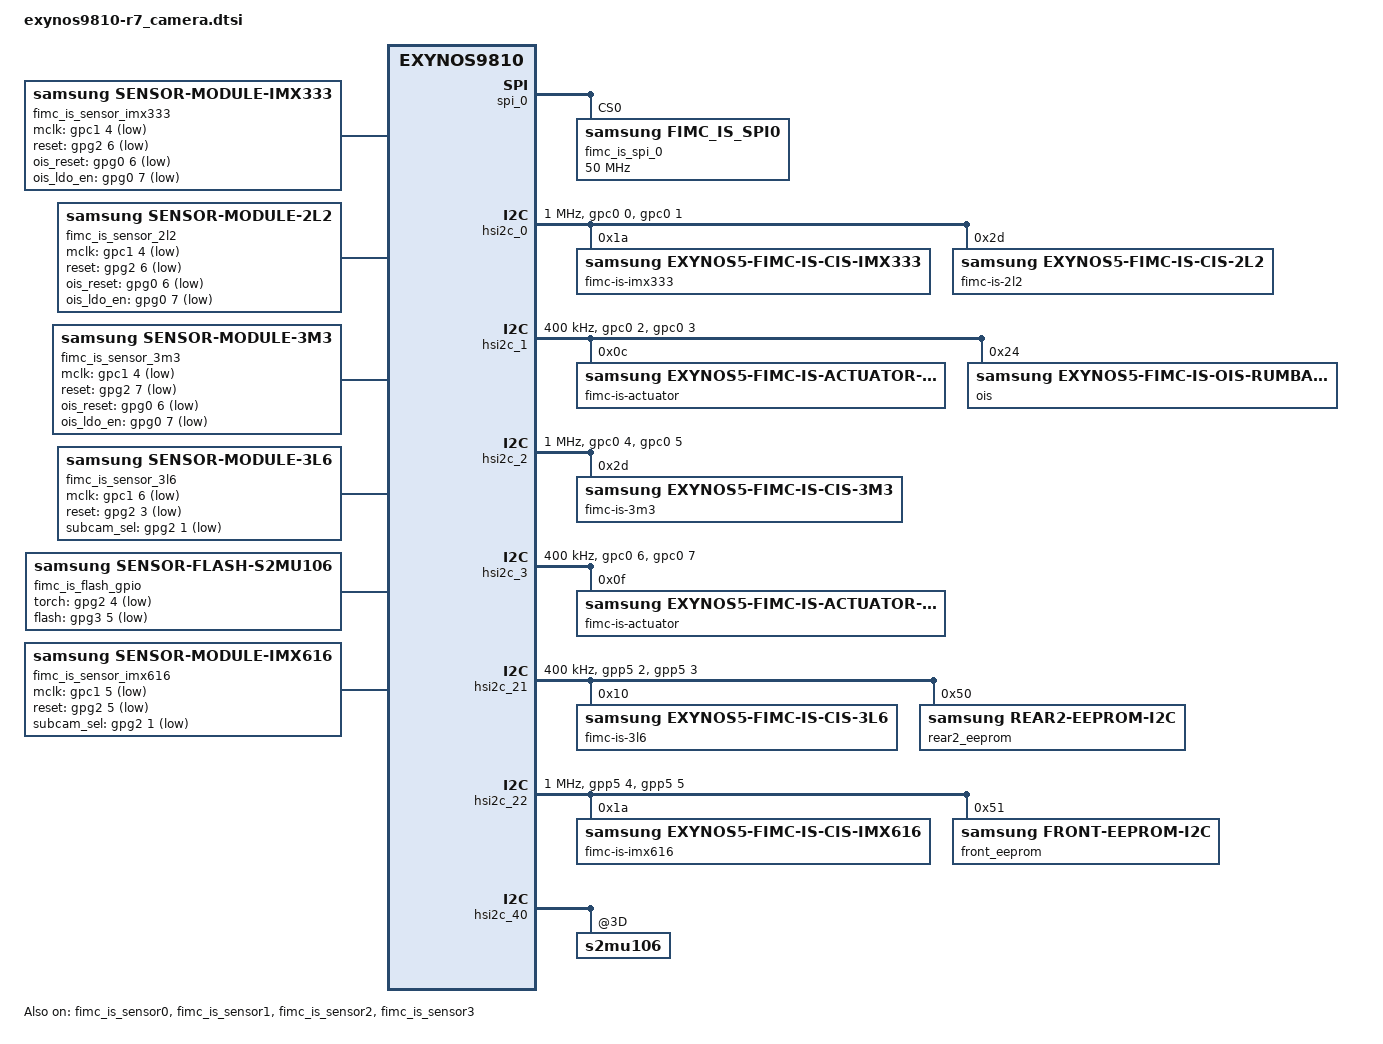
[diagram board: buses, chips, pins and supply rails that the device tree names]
/*
 * SAMSUNG EXYNOS9820 board camera device tree source
 *
 * Copyright (c) 2018 Samsung Electronics Co., Ltd.
 *		http://www.samsung.com
 *
 * This program is free software; you can redistribute it and/or modify
 * it under the terms of the GNU General Public License version 2 as
 * published by the Free Software Foundation.
*/

#include <dt-bindings/camera/fimc_is.h>

/ {
	fragment@camera {
		target-path = "/";
		__overlay__ {
			/* REAR CAMERA */
			fimc_is_sensor_imx333: fimc-is_sensor_imx333@34 {
				compatible = "samsung,sensor-module-imx333";

				pinctrl-names = "pin0", "pin1", "pin2", "release";
				pinctrl-0 = <>;
				pinctrl-1 = <&fimc_is_mclk0_out>;
				pinctrl-2 = <&fimc_is_mclk0_fn>;
				pinctrl-3 = <>;

				position = <0>;	/* Rear:0. Front:1. Rear_sub:2. Secure:3. */
				id = <0>; /* fimc_is_sensor id */
				mclk_ch = <0>;
				sensor_i2c_ch = <0>; /* SENSOR_CONTROL_I2C0 */

				rom_type = <1>; /* ROM_TYPE_FROM */
				rom_id = <0>;
				rom_cal_index = <0>;

				gpio_mclk = <&gpc1 4 0x1>;
				gpio_reset = <&gpg2 6 0x1>; /* sensor reset */
				gpio_ois_reset = <&gpg0 6 0x1>; /* ois reset */
				gpio_ois_ldo_en = <&gpg0 7 0x1>; /* ois ldo on */

				status = "okay";

				af {
					product_name = <18>; /* ACTUATOR_NAME_AK737X : ak7371 or ak7374 */
					i2c_ch = <1>; /* SENSOR_CONTROL_I2C1 */
				};

				flash {
					product_name = <14>; /* S2MU106 */
				};

				ois {
					product_name = <2>; /* RUMBA-S6 */
					i2c_addr = <0x48>;
					i2c_ch = <1>; /* SENSOR_CONTROL_I2C1 */
				};
			};

			/* REAR CAMERA */
			fimc_is_sensor_2l2: fimc-is_sensor_2l2@5A {
				compatible = "samsung,sensor-module-2l2";

				pinctrl-names = "pin0", "pin1", "pin2", "release";
				pinctrl-0 = <>;
				pinctrl-1 = <&fimc_is_mclk0_out>;
				pinctrl-2 = <&fimc_is_mclk0_fn>;
				pinctrl-3 = <>;

				position = <0>;	/* Rear:0. Front:1. Rear_sub:2. Secure:3. */
				id = <0>; /* fimc_is_sensor id */
				mclk_ch = <0>;
				sensor_i2c_ch = <0>; /* SENSOR_CONTROL_I2C0 */

				rom_type = <1>; /* ROM_TYPE_FROM */
				rom_id = <0>;
				rom_cal_index = <0>;

				gpio_mclk = <&gpc1 4 0x1>;
				gpio_reset = <&gpg2 6 0x1>; /* sensor reset */
				gpio_ois_reset = <&gpg0 6 0x1>; /* ois reset */
				gpio_ois_ldo_en = <&gpg0 7 0x1>; /* ois ldo on */

				status = "okay";

				af {
					product_name = <18>; /* ACTUATOR_NAME_AK737X : ak7371 or ak7374 */
					i2c_ch = <1>; /* SENSOR_CONTROL_I2C1 */
				};

				flash {
					product_name = <14>; /* S2MU106 */
				};

				ois {
					product_name = <2>; /* RUMBA-S6 */
					i2c_addr = <0x48>;
					i2c_ch = <1>; /* SENSOR_CONTROL_I2C1 */
				};
			};

			fimc_is_sensor_3m3: fimc-is_sensor_3m3@5A {
				compatible = "samsung,sensor-module-3m3";

				pinctrl-names = "pin0", "pin1", "pin2", "release";
				pinctrl-0 = <>;
				pinctrl-1 = <&fimc_is_mclk0_out>;
				pinctrl-2 = <&fimc_is_mclk0_fn>;
				pinctrl-3 = <>;

				position = <2>; /* Rear:0. Front:1, Tele:2 */
				id = <2>; /* fimc_is_sensor id */
				mclk_ch = <0>;
				sensor_i2c_ch = <2>; /* SENSOR_CONTROL_I2C2 */

				rom_type = <1>; /* ROM_TYPE_FROM */
				rom_id = <0>;
				rom_cal_index = <1>;
				rom_dualcal_id = <0>;
				rom_dualcal_index = <1>;

				gpio_mclk = <&gpc1 4 0x1>; /* mclk shared with wide-cam */
				gpio_reset = <&gpg2 7 0x1>; /* sensor reset */
				gpio_ois_reset = <&gpg0 6 0x1>; /* ois reset */
				gpio_ois_ldo_en = <&gpg0 7 0x1>; /* ois ldo on */

				status = "okay";

				af {
					product_name = <18>; /* ACTUATOR_NAME_AK737X : ak7371 or ak7374 */
					i2c_ch = <3>; /* SENSOR_CONTROL_I2C3 */
				};

				flash {
					product_name = <14>; /* S2MU106 */
				};

				preprocessor {
					product_name = <100>; /* NOTHING */
				};

				ois {
					product_name = <2>; /* RUMBA-S6 */
					i2c_addr = <0x48>;
					i2c_ch = <3>; /* SENSOR_CONTROL_I2C3 */
				};
			};
			
			/* Ultra Wide CAMERA */
			fimc_is_sensor_3l6: fimc-is_sensor_3l6@10 {
				compatible = "samsung,sensor-module-3l6";

				pinctrl-names = "pin0", "pin1", "pin2", "release";
				pinctrl-0 = <>;
				pinctrl-1 = <&fimc_is_mclk2_out>;
				pinctrl-2 = <&fimc_is_mclk2_fn>;
				pinctrl-3 = <>;

				position = <4>; /* Rear:0. Front:1, Tele:2. Front2:3, Rear3:4 */
				id = <3>; /* fimc_is_sensor id */
				mclk_ch = <2>;
				sensor_i2c_ch = <4>; /* SENSOR_CONTROL_I2C2 */

				rom_type = <2>; /* ROM_TYPE_EEPROM */
				rom_id = <2>;
				rom_cal_index = <0>;
				rom_dualcal_id = <0>;
				rom_dualcal_index = <0>;

				gpio_mclk = <&gpc1 6 0x1>;
				gpio_reset = <&gpg2 3 0x1>; /* sensor reset */
				gpio_subcam_sel = <&gpg2 1 0x1>; /* sub cam sel */ 

				status = "okay";

				af {
					product_name = <100>; /* NOTHING */
				};

				flash {
					product_name = <14>; /* S2MU106 */
				};

				preprocessor {
					product_name = <100>; /* NOTHING */
				};

				ois {
					product_name = <100>; /* NOTHING */
				};

				internal_vc {
					/* DUMMY */
				};
			};
			
			fimc_is_flash_gpio: fimc-is-flash-gpio@0 {
				compatible = "samsung,sensor-flash-s2mu106";
				id = <0 2 3>;
				status = "okay";

				torch-gpio = <&gpg2 4 0x1>;
				flash-gpio = <&gpg3 5 0x1>;
			};

			/* FRONT CAMERA */
			fimc_is_sensor_imx616: fimc-is_sensor_imx616@34 {
				compatible = "samsung,sensor-module-imx616";

				pinctrl-names = "pin0", "pin1", "pin2", "release";
				pinctrl-0 = <>;
				pinctrl-1 = <&fimc_is_mclk1_out>;
				pinctrl-2 = <&fimc_is_mclk1_fn>;
				pinctrl-3 = <>;

				position = <1>;	/* Rear:0. Front:1. Rear_sub:2. Secure:3. */
				id = <1>; /* fimc_is_sensor id */
				mclk_ch = <1>;
				sensor_i2c_ch = <5>; /* SENSOR_CONTROL_I2C5 */

				rom_type = <2>; /* ROM_TYPE_EEPOM */
				rom_id = <1>;
				rom_cal_index = <0>;

				gpio_mclk = <&gpc1 5 0x1>;
				gpio_reset = <&gpg2 5 0x1>; /* sensor reset */
				gpio_subcam_sel = <&gpg2 1 0x1>; /* sub cam sel */ 
				status = "okay";

				af {
					product_name = <100>; /* NOTHING */
				};

				flash {
					product_name = <100>; /* NOTHING */
				};

				ois {
					product_name = <100>; /* NOTHING */
				};

				internal_vc {
					/* DUMMY */
				};
			};
		}; /* end of __overlay__ */
	}; /* end of fragment */
}; /* end of root */

/***** reference symbol node *****/

&fimc_is {
	secure_mem_info = <0xE1900000 0x2000000>;
	non_secure_mem_info = <0x95000000 0x700000>;
	vender {
		rear_sensor_id = <112>; /* IMX333 : 112 */
		front_sensor_id = <121>; /* IMX616 : 121 */
		rear2_sensor_id = <33>; /* 3M3 : 33 */
		rear3_sensor_id = <59>; /* 3L6 : 59 */
		use_module_check;
		use_ois;
		check_sensor_vendor;
		ois_sensor_index = <0>;
		aperture_sensor_index = <0>;

		max_supported_camera = <7>;
		supported_cameraId = <0 1 20 21 23 50 52>;

		/*
		* REAR(0)
		* FRONT(1)
		* DUAL_REAR_ZOOM(20)
		* TELE(21)
		* FRONT_PORTRAIT(22)
		* WIDE(23)
		* REAR_2ND(50)
		* REAR_3RD(52)
		*/

		/* sysfs camera id */
		max_camera_num = <5>;
		camera_info0 {			// 0 : sysfs rear
			internal_id = <0>;	// 0 : wide
			isp = <0>;		/* 0 : INT , 1 : EXT , 2 : SOC */
			cal_memory = <1>;	/* 0 : N , 1 : FROM , 2 : EEPROM , 3 : OTP  */
			read_version = <0>;	/* 0 : SYSFS , 1 : CAMON */
			core_voltage = <0>;	/* 0 : N , 1 : Y  */
			upgrade = <0>;		/* 0 : N , 1 : SYSFS , 2 : CAMON */
			fw_write = <0>;		/* 0 : N,  1 : OS, 2 : SD, 3 : ALL */
			fw_dump = <0>;		/* 0 : N , 1 : Y  */
			companion = <0>;	/* 0 : N , 1 : Y  */
			ois = <1>;			/* 0 : N , 1 : Y  */
			valid = <1>;		/* 0 : INVALID , 1 : VALID   */
		};
		camera_info1 {			// 1 : sysfs front
			internal_id = <1>;	// 0 : front master
			isp = <0>;		/* 0 : INT , 1 : EXT , 2 : SOC */
			cal_memory = <2>;	/* 0 : N , 1 : FROM , 2 : EEPROM , 3 : OTP  */
			read_version = <0>;	/* 0 : SYSFS , 1 : CAMON */
			core_voltage = <0>;	/* 0 : N , 1 : Y  */
			upgrade = <0>;		/* 0 : N , 1 : SYSFS , 2 : CAMON */
			fw_write = <0>;		/* 0 : N,  1 : OS, 2 : SD, 3 : ALL */
			fw_dump = <0>;		/* 0 : N , 1 : Y  */
			companion = <0>;	/* 0 : N , 1 : Y  */
			ois = <0>;			/* 0 : N , 1 : Y  */
			valid = <1>;		/* 0 : INVALID , 1 : VALID   */
		};
		camera_info2 {			// 2 : sysfs rear2
			internal_id = <4>;	// 4 : ultra wide
			isp = <0>;		/* 0 : INT , 1 : EXT , 2 : SOC */
			cal_memory = <1>;	/* 0 : N , 1 : FROM , 2 : EEPROM , 3 : OTP  */
			read_version = <0>;	/* 0 : SYSFS , 1 : CAMON */
			core_voltage = <0>;	/* 0 : N , 1 : Y  */
			upgrade = <0>;		/* 0 : N , 1 : SYSFS , 2 : CAMON */
			fw_write = <0>;		/* 0 : N,  1 : OS, 2 : SD, 3 : ALL */
			fw_dump = <0>;		/* 0 : N , 1 : Y  */
			companion = <0>;	/* 0 : N , 1 : Y  */
			ois = <0>;			/* 0 : N , 1 : Y  */
			valid = <1>;		/* 0 : INVALID , 1 : VALID   */
		};
		camera_info3 {			// 3 : sysfs front2
			valid = <0>;		/* 0 : INVALID , 1 : VALID   */
		};
		camera_info4 {			// 4 : sysfs rear3
			internal_id = <2>;	// 4 : tele
			isp = <0>;		/* 0 : INT , 1 : EXT , 2 : SOC */
			cal_memory = <2>;	/* 0 : N , 1 : FROM , 2 : EEPROM , 3 : OTP  */
			read_version = <0>;	/* 0 : SYSFS , 1 : CAMON */
			core_voltage = <0>;	/* 0 : N , 1 : Y  */
			upgrade = <0>;		/* 0 : N , 1 : SYSFS , 2 : CAMON */
			fw_write = <0>;		/* 0 : N,  1 : OS, 2 : SD, 3 : ALL */
			fw_dump = <0>;		/* 0 : N , 1 : Y  */
			companion = <0>;	/* 0 : N , 1 : Y  */
			ois = <1>;			/* 0 : N , 1 : Y  */
			valid = <1>;		/* 0 : INVALID , 1 : VALID   */
		};
	};

	fimc_is_dvfs {
		#define DVFS_INT_CAM_L0 690000
		#define DVFS_INT_CAM_L1 680000
		#define DVFS_INT_CAM_L2 670000
		#define DVFS_INT_CAM_L3 660000
		#define DVFS_INT_CAM_L4 650000
		#define DVFS_INT_CAM_L5 640000
		#define DVFS_INT_CAM_L6 630000

		#define DVFS_INT_L0 534000
		#define DVFS_INT_L1 400000
		#define DVFS_INT_L2 336000
		#define DVFS_INT_L3 267000
		#define DVFS_INT_L4 178000
		#define DVFS_INT_L5 107000

		#define DVFS_CAM_L0 690000
		#define DVFS_CAM_L1 680000
		#define DVFS_CAM_L2 670000
		#define DVFS_CAM_L3 660000
		#define DVFS_CAM_L4 650000
		#define DVFS_CAM_L5 640000
		#define DVFS_CAM_L6 630000
		#define DVFS_CAM_L7 620000
		#define DVFS_CAM_L8 610000
		#define DVFS_CAM_L9 600000
		#define DVFS_CAM_L10 590000

		#define DVFS_MIF_L0 2093000
		#define DVFS_MIF_L1 2093000
		#define DVFS_MIF_L2 2002000
		#define DVFS_MIF_L3 1794000
		#define DVFS_MIF_L4 1539000
		#define DVFS_MIF_L5 1352000
		#define DVFS_MIF_L6 1014000
		#define DVFS_MIF_L7 845000
		#define DVFS_MIF_L8 676000
		#define DVFS_MIF_L9 546000
		#define DVFS_MIF_L10 421000

		table0 {
			desc = "dvfs table v0.0 for 12M/8M";

			default_int_cam = <DVFS_INT_CAM_L0>;
			default_cam = <DVFS_CAM_L0>;
			default_mif = <DVFS_MIF_L0>;
			default_int = <DVFS_INT_L5>;
			default_hpg = <1>;

			front_preview_int_cam = <DVFS_INT_CAM_L5>;
			front_preview_cam = <DVFS_CAM_L5>;
			front_preview_mif = <DVFS_MIF_L6>;
			front_preview_int = <DVFS_INT_L5>;
			front_preview_hpg = <1>;

			front_preview_full_int_cam = <DVFS_INT_CAM_L3>;
			front_preview_full_cam = <DVFS_CAM_L5>;
			front_preview_full_mif = <DVFS_MIF_L6>;
			front_preview_full_int = <DVFS_INT_L5>;
			front_preview_full_hpg = <1>;

			front_preview_remosaic_int_cam = <DVFS_INT_CAM_L2>;
			front_preview_remosaic_cam = <DVFS_CAM_L5>;
			front_preview_remosaic_mif = <DVFS_MIF_L3>;
			front_preview_remosaic_int = <DVFS_INT_L5>;
			front_preview_remosaic_hpg = <1>;

			front_capture_int_cam = <DVFS_INT_CAM_L3>;
			front_capture_cam = <DVFS_CAM_L5>;
			front_capture_mif = <DVFS_MIF_L0>;
			front_capture_int = <DVFS_INT_L5>;
			front_capture_hpg = <1>;

			front_capture_remosaic_int_cam = <DVFS_INT_CAM_L2>;
			front_capture_remosaic_cam = <DVFS_CAM_L5>;
			front_capture_remosaic_mif = <DVFS_MIF_L0>;
			front_capture_remosaic_int = <DVFS_INT_L5>;
			front_capture_remosaic_hpg = <1>;

			front_video_int_cam = <DVFS_INT_CAM_L5>;
			front_video_cam = <DVFS_CAM_L5>;
			front_video_mif = <DVFS_MIF_L6>;
			front_video_int = <DVFS_INT_L5>;
			front_video_hpg = <1>;

			front_video_whd_int_cam = <DVFS_INT_CAM_L5>;
			front_video_whd_cam = <DVFS_CAM_L5>;
			front_video_whd_mif = <DVFS_MIF_L6>;
			front_video_whd_int = <DVFS_INT_L5>;
			front_video_whd_hpg = <1>;

			front_video_uhd_int_cam = <DVFS_INT_CAM_L3>;
			front_video_uhd_cam = <DVFS_CAM_L5>;
			front_video_uhd_mif = <DVFS_MIF_L6>;
			front_video_uhd_int = <DVFS_INT_L5>;
			front_video_uhd_hpg = <1>;

			front_video_capture_int_cam = <DVFS_INT_CAM_L3>;
			front_video_capture_cam = <DVFS_CAM_L5>;
			front_video_capture_mif = <DVFS_MIF_L0>;
			front_video_capture_int = <DVFS_INT_L5>;
			front_video_capture_hpg = <1>;

			front_video_whd_capture_int_cam = <DVFS_INT_CAM_L3>;
			front_video_whd_capture_cam = <DVFS_CAM_L5>;
			front_video_whd_capture_mif = <DVFS_MIF_L0>;
			front_video_whd_capture_int = <DVFS_INT_L5>;
			front_video_whd_capture_hpg = <1>;

			front_video_uhd_capture_int_cam = <DVFS_INT_CAM_L3>;
			front_video_uhd_capture_cam = <DVFS_CAM_L5>;
			front_video_uhd_capture_mif = <DVFS_MIF_L0>;
			front_video_uhd_capture_int = <DVFS_INT_L5>;
			front_video_uhd_capture_hpg = <1>;

			front_vt1_int_cam = <DVFS_INT_CAM_L5>;
			front_vt1_cam = <DVFS_CAM_L5>;
			front_vt1_mif = <DVFS_MIF_L6>;
			front_vt1_int = <DVFS_INT_L5>;
			front_vt1_hpg = <1>;

			front_vt2_int_cam = <DVFS_INT_CAM_L5>;
			front_vt2_cam = <DVFS_CAM_L5>;
			front_vt2_mif = <DVFS_MIF_L6>;
			front_vt2_int = <DVFS_INT_L5>;
			front_vt2_hpg = <1>;

			front_vt4_int_cam = <DVFS_INT_CAM_L5>;
			front_vt4_cam = <DVFS_CAM_L5>;
			front_vt4_mif = <DVFS_MIF_L6>;
			front_vt4_int = <DVFS_INT_L5>;
			front_vt4_hpg = <1>;

			front_preview_high_speed_fps_int_cam = <DVFS_INT_CAM_L3>;
			front_preview_high_speed_fps_cam = <DVFS_CAM_L5>;
			front_preview_high_speed_fps_mif = <DVFS_MIF_L6>;
			front_preview_high_speed_fps_int = <DVFS_INT_L5>;
			front_preview_high_speed_fps_hpg = <1>;

			front_video_high_speed_120fps_int_cam = <DVFS_INT_CAM_L1>;
			front_video_high_speed_120fps_cam = <DVFS_CAM_L5>;
			front_video_high_speed_120fps_mif = <DVFS_MIF_L6>;
			front_video_high_speed_120fps_int = <DVFS_INT_L5>;
			front_video_high_speed_120fps_hpg = <1>;

			rear3_preview_fhd_int_cam = <DVFS_INT_CAM_L5>;
			rear3_preview_fhd_cam = <DVFS_CAM_L5>;
			rear3_preview_fhd_mif = <DVFS_MIF_L6>;
			rear3_preview_fhd_int = <DVFS_INT_L5>;
			rear3_preview_fhd_hpg = <1>;

			rear3_capture_int_cam = <DVFS_INT_CAM_L3>;
			rear3_capture_cam = <DVFS_CAM_L5>;
			rear3_capture_mif = <DVFS_MIF_L0>;
			rear3_capture_int = <DVFS_INT_L5>;
			rear3_capture_hpg = <1>;

			rear3_video_fhd_int_cam = <DVFS_INT_CAM_L5>;
			rear3_video_fhd_cam = <DVFS_CAM_L5>;
			rear3_video_fhd_mif = <DVFS_MIF_L6>;
			rear3_video_fhd_int = <DVFS_INT_L5>;
			rear3_video_fhd_hpg = <1>;

			rear3_video_fhd_capture_int_cam = <DVFS_INT_CAM_L4>;
			rear3_video_fhd_capture_cam = <DVFS_CAM_L5>;
			rear3_video_fhd_capture_mif = <DVFS_MIF_L0>;
			rear3_video_fhd_capture_int = <DVFS_INT_L5>;
			rear3_video_fhd_capture_hpg = <1>;

			rear2_preview_fhd_int_cam = <DVFS_INT_CAM_L5>;
			rear2_preview_fhd_cam = <DVFS_CAM_L5>;
			rear2_preview_fhd_mif = <DVFS_MIF_L6>;
			rear2_preview_fhd_int = <DVFS_INT_L5>;
			rear2_preview_fhd_hpg = <1>;

			rear2_capture_int_cam = <DVFS_INT_CAM_L3>;
			rear2_capture_cam = <DVFS_CAM_L5>;
			rear2_capture_mif = <DVFS_MIF_L0>;
			rear2_capture_int = <DVFS_INT_L5>;
			rear2_capture_hpg = <1>;

			rear2_video_fhd_int_cam = <DVFS_INT_CAM_L3>;
			rear2_video_fhd_cam = <DVFS_CAM_L5>;
			rear2_video_fhd_mif = <DVFS_MIF_L6>;
			rear2_video_fhd_int = <DVFS_INT_L5>;
			rear2_video_fhd_hpg = <1>;

			rear2_video_fhd_capture_int_cam = <DVFS_INT_CAM_L3>;
			rear2_video_fhd_capture_cam = <DVFS_CAM_L5>;
			rear2_video_fhd_capture_mif = <DVFS_MIF_L0>;
			rear2_video_fhd_capture_int = <DVFS_INT_L5>;
			rear2_video_fhd_capture_hpg = <1>;

			rear_preview_fhd_int_cam = <DVFS_INT_CAM_L5>;
			rear_preview_fhd_cam = <DVFS_CAM_L5>;
			rear_preview_fhd_mif = <DVFS_MIF_L4>;
			rear_preview_fhd_int = <DVFS_INT_L5>;
			rear_preview_fhd_hpg = <1>;

			rear_preview_whd_int_cam = <DVFS_INT_CAM_L5>;
			rear_preview_whd_cam = <DVFS_CAM_L5>;
			rear_preview_whd_mif = <DVFS_MIF_L6>;
			rear_preview_whd_int = <DVFS_INT_L5>;
			rear_preview_whd_hpg = <1>;

			rear_preview_uhd_int_cam = <DVFS_INT_CAM_L3>;
			rear_preview_uhd_cam = <DVFS_CAM_L5>;
			rear_preview_uhd_mif = <DVFS_MIF_L5>;
			rear_preview_uhd_int = <DVFS_INT_L5>;
			rear_preview_uhd_hpg = <1>;

			rear_preview_uhd_60fps_int_cam = <DVFS_INT_CAM_L1>;
			rear_preview_uhd_60fps_cam = <DVFS_CAM_L5>;
			rear_preview_uhd_60fps_mif = <DVFS_MIF_L3>;
			rear_preview_uhd_60fps_int = <DVFS_INT_L5>;
			rear_preview_uhd_60fps_hpg = <1>;

			rear_preview_full_int_cam = <DVFS_INT_CAM_L3>;
			rear_preview_full_cam = <DVFS_CAM_L5>;
			rear_preview_full_mif = <DVFS_MIF_L6>;
			rear_preview_full_int = <DVFS_INT_L5>;
			rear_preview_full_hpg = <1>;

			rear_preview_remosaic_int_cam = <DVFS_INT_CAM_L2>;
			rear_preview_remosaic_cam = <DVFS_CAM_L5>;
			rear_preview_remosaic_mif = <DVFS_MIF_L3>;
			rear_preview_remosaic_int = <DVFS_INT_L5>;
			rear_preview_remosaic_hpg = <1>;

			rear_capture_int_cam = <DVFS_INT_CAM_L3>;
			rear_capture_cam = <DVFS_CAM_L5>;
			rear_capture_mif = <DVFS_MIF_L0>;
			rear_capture_int = <DVFS_INT_L5>;
			rear_capture_hpg = <1>;

			rear_capture_remosaic_int_cam = <DVFS_INT_CAM_L2>;
			rear_capture_remosaic_cam = <DVFS_CAM_L5>;
			rear_capture_remosaic_mif = <DVFS_MIF_L0>;
			rear_capture_remosaic_int = <DVFS_INT_L5>;
			rear_capture_remosaic_hpg = <1>;

			rear_video_fhd_int_cam = <DVFS_INT_CAM_L3>;
			rear_video_fhd_cam = <DVFS_CAM_L5>;
			rear_video_fhd_mif = <DVFS_MIF_L6>;
			rear_video_fhd_int = <DVFS_INT_L5>;
			rear_video_fhd_hpg = <1>;

			rear_video_whd_int_cam = <DVFS_INT_CAM_L3>;
			rear_video_whd_cam = <DVFS_CAM_L5>;
			rear_video_whd_mif = <DVFS_MIF_L6>;
			rear_video_whd_int = <DVFS_INT_L5>;
			rear_video_whd_hpg = <1>;

			rear_video_uhd_int_cam = <DVFS_INT_CAM_L3>;
			rear_video_uhd_cam = <DVFS_CAM_L5>;
			rear_video_uhd_mif = <DVFS_MIF_L5>;
			rear_video_uhd_int = <DVFS_INT_L5>;
			rear_video_uhd_hpg = <1>;

			rear_video_uhd_60fps_int_cam = <DVFS_INT_CAM_L1>;
			rear_video_uhd_60fps_cam = <DVFS_CAM_L5>;
			rear_video_uhd_60fps_mif = <DVFS_MIF_L3>;
			rear_video_uhd_60fps_int = <DVFS_INT_L5>;
			rear_video_uhd_60fps_hpg = <1>;

			rear_video_fhd_capture_int_cam = <DVFS_INT_CAM_L3>;
			rear_video_fhd_capture_cam = <DVFS_CAM_L5>;
			rear_video_fhd_capture_mif = <DVFS_MIF_L0>;
			rear_video_fhd_capture_int = <DVFS_INT_L5>;
			rear_video_fhd_capture_hpg = <1>;

			rear_video_whd_capture_int_cam = <DVFS_INT_CAM_L3>;
			rear_video_whd_capture_cam = <DVFS_CAM_L5>;
			rear_video_whd_capture_mif = <DVFS_MIF_L0>;
			rear_video_whd_capture_int = <DVFS_INT_L5>;
			rear_video_whd_capture_hpg = <1>;

			rear_video_uhd_capture_int_cam = <DVFS_INT_CAM_L3>;
			rear_video_uhd_capture_cam = <DVFS_CAM_L5>;
			rear_video_uhd_capture_mif = <DVFS_MIF_L0>;
			rear_video_uhd_capture_int = <DVFS_INT_L5>;
			rear_video_uhd_capture_hpg = <1>;

			dual_preview_int_cam = <DVFS_INT_CAM_L3>;
			dual_preview_cam = <DVFS_CAM_L5>;
			dual_preview_mif = <DVFS_MIF_L4>;
			dual_preview_int = <DVFS_INT_L5>;
			dual_preview_hpg = <1>;

			dual_capture_int_cam = <DVFS_INT_CAM_L3>;
			dual_capture_cam = <DVFS_CAM_L5>;
			dual_capture_mif = <DVFS_MIF_L0>;
			dual_capture_int = <DVFS_INT_L5>;
			dual_capture_hpg = <1>;

			dual_video_fhd_int_cam = <DVFS_INT_CAM_L3>;
			dual_video_fhd_cam = <DVFS_CAM_L5>;
			dual_video_fhd_mif = <DVFS_MIF_L5>;
			dual_video_fhd_int = <DVFS_INT_L5>;
			dual_video_fhd_hpg = <1>;

			dual_video_fhd_capture_int_cam = <DVFS_INT_CAM_L3>;
			dual_video_fhd_capture_cam = <DVFS_CAM_L5>;
			dual_video_fhd_capture_mif = <DVFS_MIF_L0>;
			dual_video_fhd_capture_int = <DVFS_INT_L5>;
			dual_video_fhd_capture_hpg = <1>;

			dual_video_uhd_int_cam = <DVFS_INT_CAM_L3>;
			dual_video_uhd_cam = <DVFS_CAM_L5>;
			dual_video_uhd_mif = <DVFS_MIF_L5>;
			dual_video_uhd_int = <DVFS_INT_L5>;
			dual_video_uhd_hpg = <1>;

			dual_video_uhd_capture_int_cam = <DVFS_INT_CAM_L3>;
			dual_video_uhd_capture_cam = <DVFS_CAM_L5>;
			dual_video_uhd_capture_mif = <DVFS_MIF_L0>;
			dual_video_uhd_capture_int = <DVFS_INT_L5>;
			dual_video_uhd_capture_hpg = <1>;

			dual_sync_preview_int_cam = <DVFS_INT_CAM_L3>;
			dual_sync_preview_cam = <DVFS_CAM_L5>;
			dual_sync_preview_mif = <DVFS_MIF_L3>;
			dual_sync_preview_int = <DVFS_INT_L5>;
			dual_sync_preview_hpg = <1>;

			dual_sync_capture_int_cam = <DVFS_INT_CAM_L2>;
			dual_sync_capture_cam = <DVFS_CAM_L5>;
			dual_sync_capture_mif = <DVFS_MIF_L0>;
			dual_sync_capture_int = <DVFS_INT_L5>;
			dual_sync_capture_hpg = <1>;

			dual_sync_preview_whd_int_cam = <DVFS_INT_CAM_L1>;
			dual_sync_preview_whd_cam = <DVFS_CAM_L5>;
			dual_sync_preview_whd_mif = <DVFS_MIF_L3>;
			dual_sync_preview_whd_int = <DVFS_INT_L5>;
			dual_sync_preview_whd_hpg = <1>;

			dual_sync_whd_capture_int_cam = <DVFS_INT_CAM_L1>;
			dual_sync_whd_capture_cam = <DVFS_CAM_L5>;
			dual_sync_whd_capture_mif = <DVFS_MIF_L0>;
			dual_sync_whd_capture_int = <DVFS_INT_L5>;
			dual_sync_whd_capture_hpg = <1>;

			dual_sync_video_fhd_int_cam = <DVFS_INT_CAM_L1>;
			dual_sync_video_fhd_cam = <DVFS_CAM_L5>;
			dual_sync_video_fhd_mif = <DVFS_MIF_L4>;
			dual_sync_video_fhd_int = <DVFS_INT_L5>;
			dual_sync_video_fhd_hpg = <1>;

			dual_sync_video_fhd_capture_int_cam = <DVFS_INT_CAM_L1>;
			dual_sync_video_fhd_capture_cam = <DVFS_CAM_L5>;
			dual_sync_video_fhd_capture_mif = <DVFS_MIF_L0>;
			dual_sync_video_fhd_capture_int = <DVFS_INT_L5>;
			dual_sync_video_fhd_capture_hpg = <1>;

			dual_sync_video_uhd_int_cam = <DVFS_INT_CAM_L1>;
			dual_sync_video_uhd_cam = <DVFS_CAM_L5>;
			dual_sync_video_uhd_mif = <DVFS_MIF_L4>;
			dual_sync_video_uhd_int = <DVFS_INT_L5>;
			dual_sync_video_uhd_hpg = <1>;

			dual_sync_video_uhd_capture_int_cam = <DVFS_INT_CAM_L1>;
			dual_sync_video_uhd_capture_cam = <DVFS_CAM_L5>;
			dual_sync_video_uhd_capture_mif = <DVFS_MIF_L0>;
			dual_sync_video_uhd_capture_int = <DVFS_INT_L5>;
			dual_sync_video_uhd_capture_hpg = <1>;

			secure_front_int_cam = <DVFS_INT_CAM_L5>;
			secure_front_cam = <DVFS_CAM_L5>;
			secure_front_mif = <DVFS_MIF_L6>;
			secure_front_int = <DVFS_INT_L5>;
			secure_front_hpg = <1>;

			pip_preview_int_cam = <DVFS_INT_CAM_L3>;
			pip_preview_cam = <DVFS_CAM_L5>;
			pip_preview_mif = <DVFS_MIF_L6>;
			pip_preview_int = <DVFS_INT_L5>;
			pip_preview_hpg = <1>;

			pip_capture_int_cam = <DVFS_INT_CAM_L2>;
			pip_capture_cam = <DVFS_CAM_L5>;
			pip_capture_mif = <DVFS_MIF_L0>;
			pip_capture_int = <DVFS_INT_L5>;
			pip_capture_hpg = <1>;

			pip_video_int_cam = <DVFS_INT_CAM_L3>;
			pip_video_cam = <DVFS_CAM_L5>;
			pip_video_mif = <DVFS_MIF_L6>;
			pip_video_int = <DVFS_INT_L5>;
			pip_video_hpg = <1>;

			pip_video_capture_int_cam = <DVFS_INT_CAM_L2>;
			pip_video_capture_cam = <DVFS_CAM_L5>;
			pip_video_capture_mif = <DVFS_MIF_L0>;
			pip_video_capture_int = <DVFS_INT_L5>;
			pip_video_capture_hpg = <1>;

			preview_high_speed_fps_int_cam = <DVFS_INT_CAM_L3>;
			preview_high_speed_fps_cam = <DVFS_CAM_L5>;
			preview_high_speed_fps_mif = <DVFS_MIF_L6>;
			preview_high_speed_fps_int = <DVFS_INT_L5>;
			preview_high_speed_fps_hpg = <1>;

			video_high_speed_60fps_int_cam = <DVFS_INT_CAM_L1>;
			video_high_speed_60fps_cam = <DVFS_CAM_L5>;
			video_high_speed_60fps_mif = <DVFS_MIF_L4>;
			video_high_speed_60fps_int = <DVFS_INT_L5>;
			video_high_speed_60fps_hpg = <1>;

			video_high_speed_120fps_int_cam = <DVFS_INT_CAM_L3>;
			video_high_speed_120fps_cam = <DVFS_CAM_L5>;
			video_high_speed_120fps_mif = <DVFS_MIF_L6>;
			video_high_speed_120fps_int = <DVFS_INT_L5>;
			video_high_speed_120fps_hpg = <1>;

			video_high_speed_240fps_int_cam = <DVFS_INT_CAM_L1>;
			video_high_speed_240fps_cam = <DVFS_CAM_L5>;
			video_high_speed_240fps_mif = <DVFS_MIF_L0>;
			video_high_speed_240fps_int = <DVFS_INT_L5>;
			video_high_speed_240fps_hpg = <1>;

			video_high_speed_dualfps_int_cam = <DVFS_INT_CAM_L1>;
			video_high_speed_dualfps_cam = <DVFS_CAM_L5>;
			video_high_speed_dualfps_mif = <DVFS_MIF_L3>;
			video_high_speed_dualfps_int = <DVFS_INT_L5>;
			video_high_speed_dualfps_hpg = <6>;

			video_high_speed_60fps_capture_int_cam = <DVFS_INT_CAM_L1>;
			video_high_speed_60fps_capture_cam = <DVFS_CAM_L5>;
			video_high_speed_60fps_capture_mif = <DVFS_MIF_L0>;
			video_high_speed_60fps_capture_int = <DVFS_INT_L5>;
			video_high_speed_60fps_capture_hpg = <1>;

			ext_front_int_cam = <DVFS_INT_CAM_L0>;
			ext_front_cam = <DVFS_CAM_L0>;
			ext_front_mif = <DVFS_MIF_L0>;
			ext_front_int = <DVFS_INT_L0>;
			ext_front_hpg = <1>;

			ext_secure_int_cam = <DVFS_INT_CAM_L5>;
			ext_secure_cam = <DVFS_CAM_L5>;
			ext_secure_mif = <DVFS_MIF_L6>;
			ext_secure_int = <DVFS_INT_L5>;
			ext_secure_hpg = <1>;

			max_int_cam = <DVFS_INT_CAM_L0>;
			max_cam = <DVFS_CAM_L0>;
			max_mif = <DVFS_MIF_L0>;
			max_int = <DVFS_INT_L0>;
			max_hpg = <1>;
		};
	};
};

/* rear FROM */
/* SPI USI_PERIC1_SPI_CAM0 */
&spi_0 {
	#address-cells = <1>;
	#size-cells = <0>;
	pinctrl-names = "default", "spi_out", "spi_fn";
	pinctrl-0 = <&fimc_is_spi_pin0_out>;
	pinctrl-1 = <&fimc_is_spi_pin0_out>;
	pinctrl-2 = <&fimc_is_spi_pin0_fn>;
	samsung,spi-fifosize = <64>;
	status = "okay";

	num-cs = <1>;

	fimc_is_spi_0@0 {
		compatible = "samsung,fimc_is_spi0";
		spi-max-frequency = <50000000>;
		reg = <0x0>;
		pinctrl-names = "default", "ssn_out", "ssn_fn", "ssn_inpd", "ssn_inpu";
		pinctrl-0 = <&fimc_is_spi_ssn0_out>;
		pinctrl-1 = <&fimc_is_spi_ssn0_out>;
		pinctrl-2 = <&fimc_is_spi_ssn0_fn>;
		pinctrl-3 = <&fimc_is_spi_ssn0_inpd>;
		pinctrl-4 = <&fimc_is_spi_ssn0_inpu>;

		use_spi_pinctrl; /* define if camera use spi */

		rom_power_position = <0>;
		rom_size = <0x8000>;
		cal_map_es_version = <17>;
		camera_module_es_version = "A";
		/*skip_cal_loading;*/

		/* R7_Rear_Cal_Map_V017_20190906_for_LSI */
		/* 0 header */
		header_crc_check_list = <0x0000 0x01FB 0x01FC>;
		/* 1 master LSC */
		/* 2 master all */
		crc_check_list = <0x0200 0x1BFB 0x1BFC 0x1C00 0x39DF 0x39FC >;

		/* 3 tele LSC */
		/* 4 tele all */
		dual_crc_check_list = <0x3A00 0x53FB 0x53FC 0x5400 0x6BDF 0x6BFC>;

		/* Master */
		rom_header_version_start_addr = <0x50>;
		rom_header_cal_data_start_addr = <0x0200>;

		rom_header_cal_map_ver_start_addr = <0x70>;
		rom_header_isp_setfile_ver_start_addr = <0x74>;
		rom_header_project_name_start_addr = <0x7E>;

		rom_header_module_id_addr = <0xAE>;
		rom_header_sensor_id_addr = <0xB8>;

		rom_header_mtf_data_addr = <0x0E>;

		rom_awb_master_addr = <0x3060>;
		rom_awb_module_addr = <0x3084>;

		rom_af_cal_macro_addr = <0x3040>;
		rom_af_cal_d50_addr = <0x3038>;
		rom_af_cal_pan_addr = <0x3034>;
	
		/* Slave 0 - TELE */
		rom_header_sensor2_version_start_addr = <0x40>;
		rom_header_sensor2_id_addr = <0xC8>;
		rom_header_sensor2_mtf_data_addr = <0x182>;
		rom_sensor2_awb_master_addr = <0x6260>;
		rom_sensor2_awb_module_addr = <0x6284>;
		rom_sensor2_af_cal_d50_addr = <0x6238>;
		rom_sensor2_af_cal_pan_addr = <0x6234>;

		/* Dual cal slave 0 - Ultra wide */
		rom_dualcal_slave0_start_addr = <0x3100>;
		rom_dualcal_slave0_size = <0x800>; /* 2048 */
		/* x y z sx sy */
		/* range max_err avg_err dll_version prj_name */
		rom_dualcal_slave0_tilt_list = <0x321C 0x3220 0x3224 0x3228 0x322C
						0x38F0 0x38F4 0x38F8 0x3100 0x3208>;
		/* Dual cal slave 1 - Tele */
		rom_dualcal_slave1_start_addr = <0x6310>;
		rom_dualcal_slave1_size = <0x800>; /* 2048 */
		/* x y z sx sy */
		/* range max_err avg_err dll_version prj_name */
		rom_dualcal_slave1_tilt_list = <0x642C 0x6430 0x6434 0x6438 0x643C
						0x6B00 0x6B04 0x6B08 0x6310 0x6418>;

		controller-data {
			samsung,spi-chip-select-mode = <0>;
			samsung,spi-feedback-delay = <1>;
		};
	};
};

/* I2C_CAM0 */ /* SENSOR_CONTROL_I2C0 */
&hsi2c_0 {
	#address-cells = <1>;
	#size-cells = <0>;
	gpios = <&gpc0 0 0 &gpc0 1 0>;
	status = "okay";
	clock-frequency = <1000000>;
	samsung,reset-before-trans;
	samsung,fast-plus-mode;

	pinctrl-names = "default","on_i2c","off_i2c";
	pinctrl-0 = <&hsi2c0_bus_in>;
	pinctrl-1 = <&hsi2c0_bus>;
	pinctrl-2 = <&hsi2c0_bus_in>;

	fimc-is-imx333@1A {
		compatible = "samsung,exynos5-fimc-is-cis-imx333";
		reg = <0x1A>; /* 1 bit right shift */
		id = <0>; /* matching fimc_is_sensor id */
		setfile = "setA";
	};

	fimc-is-2l2@2D {
		compatible = "samsung,exynos5-fimc-is-cis-2l2";
		reg = <0x2D>;
		id = <0>;
		setfile = "setA";
	};
};

/* I2C_CAM1 */ /* SENSOR_CONTROL_I2C1 */
&hsi2c_1 {
	#address-cells = <1>;
	#size-cells = <0>;
	gpios = <&gpc0 2 0 &gpc0 3 0>;
	status = "okay";
	clock-frequency = <400000>;
	samsung,reset-before-trans;

	pinctrl-names = "default","on_i2c","off_i2c";
	pinctrl-0 = <&hsi2c1_bus_in>;
	pinctrl-1 = <&hsi2c1_bus>;
	pinctrl-2 = <&hsi2c1_bus_in>;

	fimc-is-actuator@0C {
		compatible = "samsung,exynos5-fimc-is-actuator-ak737x";
		reg = <0x0C>;
		id = <0>; /* matching fimc_is_sensor id */
		/* AK7372: addr 0x03, data 0x0C */
		/* AK7371: addr 0x03, data 0x09 */
		/* STAR AK7371 or AK7374: addr 0xF3, data 0x0E */
		vendor_product_id = <0xF3 0x0E 0x03 0x09 0x03 0x0E>;
		vendor_first_pos = <120>;
		vendor_first_delay = <2000>;
		vendor_use_sleep_mode;
	};

	ois@24 {
		compatible = "samsung,exynos5-fimc-is-ois-rumbaS6";
		reg = <0x24>;
		id = <0 2>;
	};
};

/* I2C_CAM2 */ /* SENSOR_CONTROL_I2C2 */
&hsi2c_2 {
	#address-cells = <1>;
	#size-cells = <0>;
	gpios = <&gpc0 4 0 &gpc0 5 0>;
	status = "okay";
	clock-frequency = <1000000>;
	samsung,reset-before-trans;
	samsung,fast-plus-mode;

	pinctrl-names = "default","on_i2c","off_i2c";
	pinctrl-0 = <&hsi2c2_bus_in>;
	pinctrl-1 = <&hsi2c2_bus>;
	pinctrl-2 = <&hsi2c2_bus_in>;

	fimc-is-3m3@2D {
		compatible = "samsung,exynos5-fimc-is-cis-3m3";
		reg = <0x2D>; /* 1 bit right shift */
		id = <2>; /* matching fimc_is_sensor id */
		setfile = "setA";
	};
};

/* PERI1 CAM3 */ /* SENSOR_CONTROL_I2C3 */
&hsi2c_3 {
	#address-cells = <1>;
	#size-cells = <0>;
	gpios = <&gpc0 6 0 &gpc0 7 0>;
	status = "okay";
	clock-frequency = <400000>;
	samsung,reset-before-trans;

	pinctrl-names = "default","on_i2c","off_i2c";
	pinctrl-0 = <&hsi2c3_bus_in>;
	pinctrl-1 = <&hsi2c3_bus>;
	pinctrl-2 = <&hsi2c3_bus_in>;

	fimc-is-actuator@0F {
		compatible = "samsung,exynos5-fimc-is-actuator-ak737x";
		reg = <0x0F>;
		id = <2>; /* matching sensor id */
		/* AK7372: addr 0x03, data 0x0C */
		/* AK7371: addr 0x03, data 0x09 */
		/* STAR AK7371 or AK7374: addr 0xF3, data 0x0E */
		vendor_product_id = <0xF3 0x0E 0x03 0x09 0x03 0x0E>;
		vendor_first_pos = <120>;
		vendor_first_delay = <2000>;
		vendor_use_sleep_mode;
	};
};

/* USI08_USI_I2C */ /* SENSOR_CONTROL_I2C4 */
&hsi2c_21 {
	#address-cells = <1>;
	#size-cells = <0>;
	gpios = <&gpp5 2 0 &gpp5 3 0>;
	status = "okay";
	clock-frequency = <400000>;
	samsung,reset-before-trans;

	pinctrl-names = "default","on_i2c","off_i2c";
	pinctrl-0 = <&hsi2c21_bus_in>;
	pinctrl-1 = <&hsi2c21_bus>;
	pinctrl-2 = <&hsi2c21_bus_in>;

	fimc-is-3l6@10 {
		compatible = "samsung,exynos5-fimc-is-cis-3l6";
		reg = <0x10>; /* 1 bit right shift */
		id = <3>; /* matching sensor id */
		setfile = "default";
	};

	rear2_eeprom@50 { /* Ultra wide eeprom */
		compatible = "samsung,rear2-eeprom-i2c";
		reg = <0x50>;
		rom_power_position = <4>;
		rom_size = <0x2000>;
		cal_map_es_version = <17>;
		camera_module_es_version = "A";

		/*skip_cal_loading;*/
		/* R7_Rear_Cal_Map_V017_20190906_for_LSI.xlsx */
		/* 0 header */
		header_crc_check_list = <0x0000 0x00FB 0x00FC>;
		/* 0 master LSC */
		/* 1 master all */
		crc_check_list = <0x0100 0x1AFB 0x1AFC 0x1B00 0x1BDF 0x1BFC>;

		/* Master */
		rom_header_version_start_addr = <0x40>;
		rom_header_cal_data_start_addr = <0x100>;
		rom_header_cal_map_ver_start_addr = <0x50>;
		rom_header_isp_setfile_ver_start_addr = <0x54>;
		rom_header_project_name_start_addr = <0x5E>;
		rom_header_module_id_addr = <0xAE>; /* 0xA8 + reserved bytes */
		rom_header_sensor_id_addr = <0xB8>;
		rom_header_mtf_data_addr = <0x66>;
		rom_awb_master_addr = <0x1B00>;
		rom_awb_module_addr = <0x1B24>;
	};
};

/* USI09_USI */ /* SENSOR_CONTROL_I2C5 */
&hsi2c_22 {
	#address-cells = <1>;
	#size-cells = <0>;
	gpios = <&gpp5 4 0 &gpp5 5 0>;
	status = "okay";
	clock-frequency = <1000000>;
	samsung,reset-before-trans;
	samsung,fast-plus-mode;

	pinctrl-names = "default","on_i2c","off_i2c";
	pinctrl-0 = <&hsi2c22_bus_in>;
	pinctrl-1 = <&hsi2c22_bus>;
	pinctrl-2 = <&hsi2c22_bus_in>;

	fimc-is-imx616@1A {
		compatible = "samsung,exynos5-fimc-is-cis-imx616";
		reg = <0x1A>; /* 1 bit right shift */
		id = <1>; /* matching fimc_is_sensor id */
		setfile = "default";
	};

	front_eeprom@51 {
		compatible = "samsung,front-eeprom-i2c";
		reg = <0x51>;

		rom_power_position = <1>;
		rom_size = <0x2000>; /* 0x8000 -> 0x4000 */
		cal_map_es_version = <9>;
		camera_module_es_version = "A";
		/* skip_cal_loading; */

		/* R7_Front_Cal_Map_V009_20190826_for_LSI */
		/* 0 header */
		header_crc_check_list = <0x0000 0x00FB 0x00FC>;
		/* 1 master */
		crc_check_list = <0x0100 0x14DF 0x14FC 0x1500 0x1CDF 0x1CFC>;

		/* Master */
		rom_header_version_start_addr = <0x30>;
		rom_header_cal_data_start_addr = <0x100>;

		rom_header_cal_map_ver_start_addr = <0x40>;
		rom_header_project_name_start_addr = <0x48>;

		rom_header_module_id_addr = <0xAE>; /* 0xA8 + reserved bytes */
		rom_header_sensor_id_addr = <0xB8>;

		rom_header_mtf_data_addr = <0x50>;

		rom_awb_master_addr = <0x0130>;

		rom_af_cal_macro_addr = <0x0110>;
		rom_af_cal_pan_addr = <0x0104>;
	};
};

/* FLASH-LED : leds-s2mu106 */
&hsi2c_40 {
	s2mu106@3D {
		flash_led {
			torch-gpio = <&gpg2 4 0>;
			flash-gpio = <&gpg3 5 0>;
			flash_current = <1400>;
			torch_current = <125>;
			movie_current = <200>;
			factory_current = <350>;
			flashlight_current = <20 40 70 100 150>;
			status = "okay";
		};
	};
};

&fimc_is_sensor0 {
	scenario = <SENSOR_SCENARIO_NORMAL>;	/* Normal, Vision, OIS etc */
	id = <0>;
	csi_ch = <0>;
	dma_ch = <0 0 0 0 0 4 4 4>;
	vc_ch = <0 1 2 3 0 0 1 2>;
	flite_ch = <FLITE_ID_NOTHING>;
	is_bns = <0>;
	use_ssvc2_internal;
	use_ssvc3_internal;
	status = "okay";
};

&fimc_is_sensor1 {
	scenario = <SENSOR_SCENARIO_NORMAL>;	/* Normal, Vision, OIS etc */
	id = <1>;
	csi_ch = <1>;
	dma_ch = <1 1 1 1>;
	vc_ch = <0 1 2 3>;
	flite_ch = <FLITE_ID_NOTHING>;
	is_bns = <0>;
	status = "okay";
};

&fimc_is_sensor2 {
	scenario = <SENSOR_SCENARIO_NORMAL>;	/* Normal, Vision, OIS etc */
	id = <2>;
	csi_ch = <2>;
	dma_ch = <2 2 2 2>;
	vc_ch = <0 1 2 3>;
	flite_ch = <FLITE_ID_NOTHING>;
	use_ssvc1_internal;
	is_bns = <0>;
	status = "okay";
};

&fimc_is_sensor3 {
	scenario = <SENSOR_SCENARIO_NORMAL>;	/* Normal, Vision, OIS etc */
	id = <3>;
	csi_ch = <1>;
	dma_ch = <1 1 1 1>;
	vc_ch = <0 1 2 3>;
	flite_ch = <FLITE_ID_NOTHING>;
	is_bns = <0>;
	status = "okay";
};
